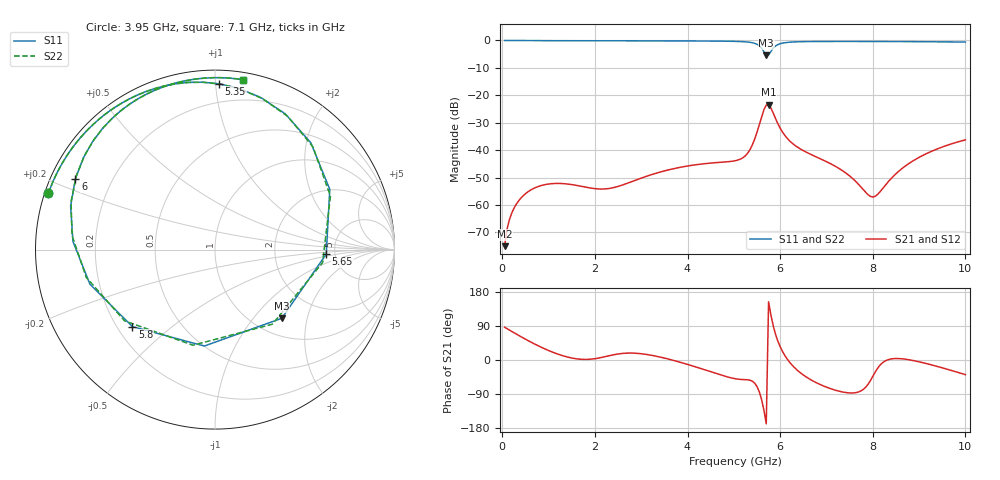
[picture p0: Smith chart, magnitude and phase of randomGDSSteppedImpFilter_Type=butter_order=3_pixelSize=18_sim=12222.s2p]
! freq	dB(S11)	phase(S11)	dB(S12)	phase(S12)
!  dB(S21)	phase(S21)	dB(S22)	phase(S22)
!S-par simulation data
#  GHz  S  DB  R 50
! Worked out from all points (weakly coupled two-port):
!   200 points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, 50 MHz to 10 GHz, reference 50 ohm
!   highest |S21| = -23.47 dB at 5.75 GHz (marker M1); lowest = -75.0 dB at 50 MHz (marker M2)
!   lowest |S11| = -5.5 dB at 5.7 GHz (marker M3), VSWR 3.29, Z = 66.2 - j70.8 ohm
!   |S11| at or under -10 dB: nowhere
!   |S22| runs from -5.6 to 0.0 dB; largest |S21 - S12| = 0
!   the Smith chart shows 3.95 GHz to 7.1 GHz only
!   S11 on the Smith chart (normalised r, x): 3.95 GHz: 0.01, +0.16; 5.35 GHz: 0.08, +1.02; 5.65 GHz: 4.24, -0.34; 5.8 GHz: 0.26, -0.37; 6 GHz: 0.07, +0.24; 7.1 GHz: 0.05, +1.18
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0.05  -0.00 -3.7  -75.04 86.4  -75.04 86.4  -0.00 -3.7
0.2  -0.02 -14.5  -63.13 75.6  -63.13 75.6  -0.02 -14.5
0.55  -0.05 -39.0  -55.26 51.6  -55.26 51.6  -0.05 -39.0
1.1  -0.09 -74.5  -52.20 20.0  -52.20 20.0  -0.09 -74.5
1.75  -0.11 -110.0  -53.34 1.6  -53.34 1.6  -0.11 -110.0
3.4  -0.16 -178.6  -48.04 8.0  -48.04 8.0  -0.16 -178.6
3.95  -0.18 161.4  -45.94 -9.8  -45.94 -9.8  -0.18 161.4
5.05  -0.34 114.0  -43.79 -49.9  -43.79 -49.9  -0.34 113.9
5.35  -0.68 88.6  -39.78 -53.4  -39.78 -53.4  -0.70 88.2
5.5  -1.40 62.6  -33.48 -70.0  -33.48 -70.0  -1.45 61.4
5.65  -4.15 -2.3  -25.22 -133.0  -25.22 -133.0  -4.38 -6.8
5.7  -5.45 -45.8  -23.61 -168.4  -23.61 -168.4  -5.61 -52.4
5.75  -5.34 -96.3  -23.47 153.6  -23.47 153.6  -5.24 -102.9
5.8  -4.02 -137.0  -24.63 119.0  -24.63 119.0  -3.86 -141.8
5.9  -2.02 176.7  -28.46 67.9  -28.46 67.9  -1.93 174.3
6  -1.19 153.1  -31.97 35.1  -31.97 35.1  -1.15 151.8
6.25  -0.59 124.2  -37.34 -12.4  -37.34 -12.4  -0.58 123.6
6.7  -0.39 97.9  -41.86 -54.8  -41.86 -54.8  -0.39 97.6
7.1  -0.36 80.7  -45.06 -76.1  -45.06 -76.1  -0.36 80.5
7.95  -0.37 48.5  -56.88 -54.2  -56.88 -54.2  -0.37 48.3
8.35  -0.39 34.0  -51.23 1.5  -51.23 1.5  -0.39 33.9
10  -0.58 -23.3  -36.26 -38.6  -36.26 -38.6  -0.58 -23.4
